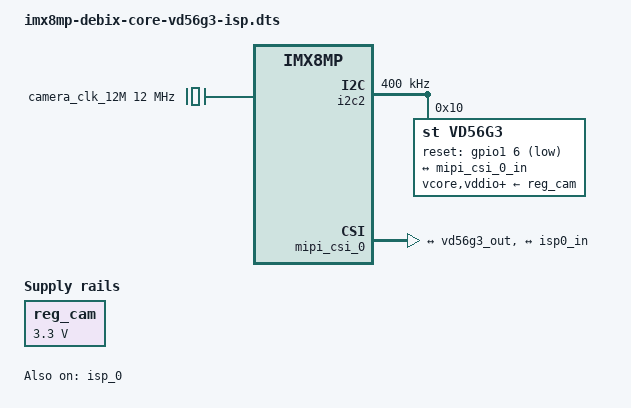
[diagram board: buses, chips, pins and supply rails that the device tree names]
// SPDX-License-Identifier: (GPL-2.0+ OR MIT)
/*
 * Copyright 2022 Ideas on Board Oy
 */


#include "imx8mp-debix-core-board.dts"


#include <dt-bindings/clock/imx8mp-clock.h>
#include <dt-bindings/gpio/gpio.h>
#include <dt-bindings/media/video-interfaces.h>
#include "imx8mp-pinfunc.h"



&{/} {
       camera_clk_12M: camera_clk_12M {
               compatible = "fixed-clock";
               #clock-cells = <0>;
               clock-frequency = <12000000>;
               clock-output-names = "camera_clk_12M";
       };

       reg_cam: regulator-cam {
               compatible = "regulator-fixed";
               regulator-name = "reg_cam";
               //gpio = <&gpio1 6 GPIO_ACTIVE_HIGH>;
               pinctrl-names = "default";
               //pinctrl-0 = <&pinctrl_reg_cam>;
               //enable-active-high;
               regulator-min-microvolt = <3300000>;
               regulator-max-microvolt = <3300000>;
       };
};



&i2c2 {
        #address-cells = <1>;
        #size-cells = <0>;
        pinctrl-names = "default";
        pinctrl-0 = <&pinctrl_i2c2>;
        clock-frequency = <400000>;
        status = "okay";


        vd56g3: vd56g3@10 {
            compatible = "st,vd56g3";
            reg = <0x10>;

            clocks = <&camera_clk_12M>;

            vcore-supply = <&reg_cam>;
            vddio-supply = <&reg_cam>;
            vana-supply = <&reg_cam>;

            reset-gpios = <&gpio1 6 GPIO_ACTIVE_LOW>;
            //st,leds = <6>;

            orientation = <2>;
            rotation = <0>;


            port {
                vd56g3_out: endpoint {
                    data-lanes = <1 2>;
                    clock-lanes = <0>;
                    link-frequencies = /bits/ 64 <402000000>;
                    remote-endpoint = <&mipi_csi_0_in>;
                    clock-noncontinuous;
                    lane-polarities = <1 1 1>;
                };
            };
        };
};


&isi_0 {
       status = "disabled";

       ports {
               port@0 {
                       /delete-node/ endpoint;
               };
       };
};


&isp_0 {
       status = "okay";

       ports {
               port@1 {
                       isp0_in: endpoint {
                               bus-type = <MEDIA_BUS_TYPE_PARALLEL>;
                               remote-endpoint = <&mipi_csi_0_out>;
                       };
               };
       };
};


&mipi_csi_0 {
       status = "okay";

       ports {
               #address-cells = <1>;
               #size-cells = <0>;

               port@0 {
                       reg = <0>;

                       mipi_csi_0_in: endpoint {
                               remote-endpoint = <&vd56g3_out>;
                               clock-lanes = <0>;
                               data-lanes = <1 2>;
                               clock-noncontinuous;
                       };
               };


               port@1 {
                       reg = <1>;

                       mipi_csi_0_out: endpoint {
                               remote-endpoint = <&isp0_in>;
                       };
               };
       };
};



&iomuxc {

		pinctrl_reg_cam: regcamgrp {
			fsl,pins = <
				MX8MP_IOMUXC_GPIO1_IO06__GPIO1_IO06                            0x19
			>;
		};

       pinctrl_csi0_pwn: csi0_pwn_grp {
                fsl,pins = <
                        MX8MP_IOMUXC_SD1_STROBE__GPIO2_IO11 0x19
                >;
        };
        pinctrl_csi_mclk: csi_mclk_grp {
                fsl,pins = <
                        MX8MP_IOMUXC_GPIO1_IO15__CCM_CLKO2      0x59
                >;
        };

};

